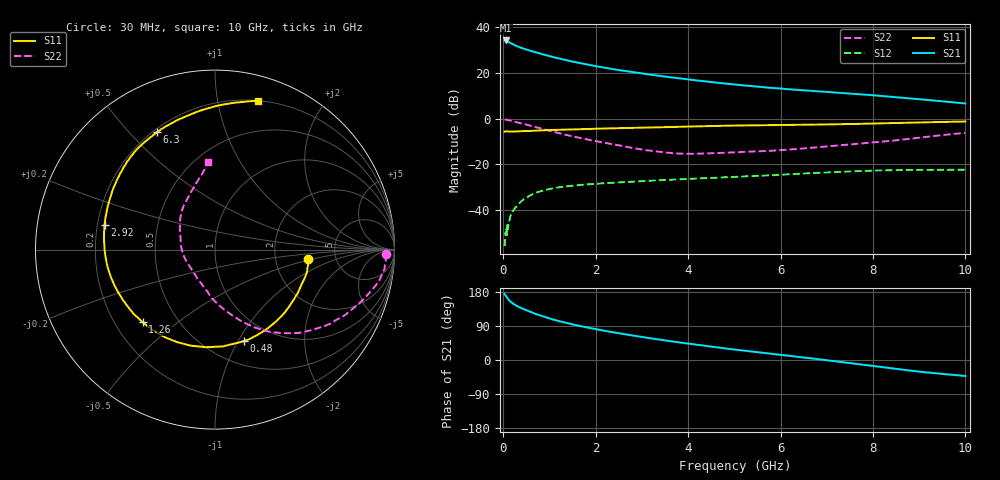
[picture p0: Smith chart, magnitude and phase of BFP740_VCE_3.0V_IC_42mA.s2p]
! Infineon Technologies  Discrete & RF Semiconductors
! BFP740
! VCE =  3.0 V,  IC =  42 mA
! Common Emitter S-Parameters:  Jan 2016
# GHz  S  MA  R  50
!  f  S11  S21  S12  S22
! GHz  MAG  ANG  MAG  ANG  MAG  ANG  MAG  ANG
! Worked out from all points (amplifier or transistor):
!   229 points, 30 MHz to 10 GHz, reference 50 ohm
!   highest |S21| = 34.3 dB at 50 MHz (marker M1)
!   |S21| within 3 dB of that: start of sweep to 356.7 MHz
!   unconditionally stable (mu >= 1): 5.291 GHz to 8.36 GHz
!   at 280 MHz: K = 0.35, MSG = 35.3 dB, |S12| = -38.6 dB
!   at 1.78 GHz: K = 0.58, MSG = 26.4 dB, |S12| = -28.9 dB
!   at 10 GHz: K = 0.98, MSG = 14.5 dB, |S12| = -22.4 dB
!   S11 on the Smith chart (normalised r, x): 30 MHz: 3.08, -0.44; 480 MHz: 0.74, -1.06; 1.26 GHz: 0.32, -0.38; 2.92 GHz: 0.23, +0.10; 6.3 GHz: 0.21, +0.60; 10 GHz: 0.20, +1.31
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0.03  0.5181 -5.8  51.3 174.2  0.0016 71.7  0.9505 -1.6
0.05  0.5261 -9.4  51.71 170.6  0.0032 95.0  0.9546 -4.1
0.08  0.5267 -15.0  50.58 164.7  0.0028 99.8  0.9466 -7.4
0.11  0.5204 -20.9  48.36 160.0  0.0047 83.4  0.931 -10.7
0.15  0.5208 -27.7  45.92 155.0  0.007 82.6  0.9057 -14.0
0.2  0.5206 -35.8  43.02 149.8  0.009 76.6  0.8779 -17.8
0.26  0.5239 -44.4  40.36 145.1  0.0111 72.7  0.8483 -21.6
0.34  0.5272 -55.4  37.16 139.9  0.0138 68.0  0.8121 -26.6
0.48  0.5339 -72.6  33.16 132.2  0.018 62.6  0.7487 -34.4
0.64  0.5412 -89.3  29.6 124.4  0.0222 55.6  0.6795 -42.2
0.82  0.552 -105.6  26.23 116.5  0.0258 50.0  0.6075 -50.0
1  0.5618 -119.2  23.43 109.6  0.0287 45.1  0.5436 -57.0
1.26  0.5707 -135.0  20.14 100.9  0.0317 39.5  0.4658 -65.1
1.7  0.5889 -155.4  16.16 88.7  0.0354 34.3  0.3697 -76.5
2.2  0.6083 -173.1  12.98 76.9  0.0386 29.9  0.2943 -88.8
2.92  0.6305 167.4  10.02 62.3  0.0422 26.1  0.2172 -106.6
3.4  0.6465 156.7  8.633 53.5  0.0448 23.9  0.1867 -122.7
5.1  0.7068 128.5  5.47 26.2  0.0532 17.7  0.1847 -179.2
6.3  0.73 116.4  4.319 9.6  0.0611 13.3  0.2145 155.0
6.8  0.741 110.7  3.976 2.4  0.0646 10.2  0.2357 145.9
8.4  0.7987 89.9  3.012 -21.9  0.0742 -1.9  0.3266 117.5
10  0.8643 73.8  2.151 -42.2  0.0757 -12.7  0.4876 94.5
